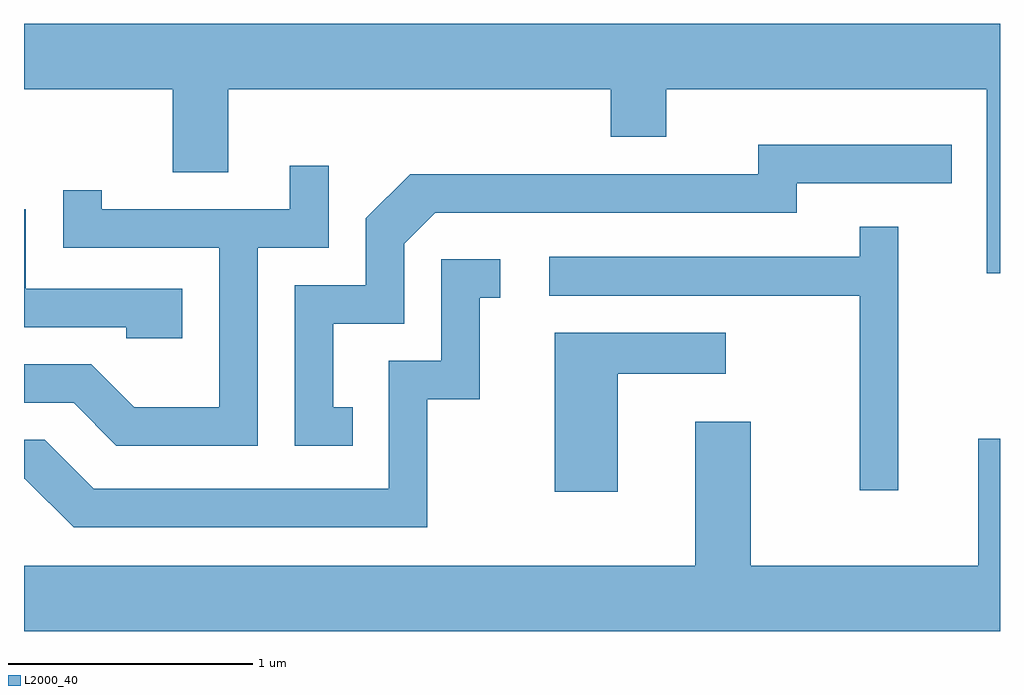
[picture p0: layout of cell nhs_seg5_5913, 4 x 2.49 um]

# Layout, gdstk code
import gdstk
lib = gdstk.Library(unit=1e-6, precision=1e-09)
def P(c, l, *ps):  # polygons
    for p in ps: c.add(gdstk.Polygon(p, *l))
L2000_40 = (2000, 40)

nhs_seg5_5913 = lib.new_cell('nhs_seg5_5913')
P(nhs_seg5_5913, L2000_40, [(363.611,1514.784),(359.611,1514.784),(359.611,1514.516),(360.221,1514.516),(360.221,1514.176),(360.449,1514.176),(360.449,1514.516),(362.016,1514.516),(362.016,1514.321),(362.244,1514.321),(362.244,1514.516),(363.556,1514.516),(363.556,1513.763),(363.611,1513.763)],
  [(360.958,1513.214),(360.879,1513.214),(360.879,1513.556),(361.169,1513.556),(361.169,1513.884),(361.297,1514.011),(362.779,1514.011),(362.779,1514.131),(363.413,1514.131),(363.413,1514.289),(362.621,1514.289),(362.621,1514.169),(361.194,1514.169),(361.011,1513.987),(361.011,1513.714),(360.721,1513.714),(360.721,1513.056),(360.958,1513.056)],
  [(360.569,1513.866),(360.859,1513.866),(360.859,1514.203),(360.701,1514.203),(360.701,1514.024),(359.929,1514.024),(359.929,1514.103),(359.771,1514.103),(359.771,1513.866),(360.411,1513.866),(360.411,1513.214),(360.062,1513.214),(359.887,1513.389),(359.611,1513.389),(359.611,1513.231),(359.814,1513.231),(359.989,1513.056),(360.569,1513.056)],
  [(360.259,1513.699),(359.619,1513.699),(359.619,1514.024),(359.611,1514.024),(359.611,1513.541),(360.031,1513.541),(360.031,1513.496),(360.259,1513.496)],
  [(363.194,1513.953),(363.036,1513.953),(363.036,1513.829),(361.763,1513.829),(361.763,1513.671),(363.036,1513.671),(363.036,1512.873),(363.194,1512.873)],
  [(361.264,1513.246),(361.479,1513.246),(361.479,1513.661),(361.563,1513.661),(361.563,1513.819),(361.321,1513.819),(361.321,1513.404),(361.106,1513.404),(361.106,1512.879),(359.897,1512.879),(359.697,1513.079),(359.611,1513.079),(359.611,1512.921),(359.614,1512.921),(359.814,1512.721),(361.264,1512.721)],
  [(362.044,1513.351),(362.488,1513.351),(362.488,1513.519),(361.786,1513.519),(361.786,1512.866),(362.044,1512.866)],
  [(363.611,1513.084),(363.521,1513.084),(363.521,1512.564),(362.589,1512.564),(362.589,1513.154),(362.361,1513.154),(362.361,1512.564),(359.611,1512.564),(359.611,1512.296),(363.611,1512.296)])

lib.write_gds('nhs_seg5_5913.gds')
